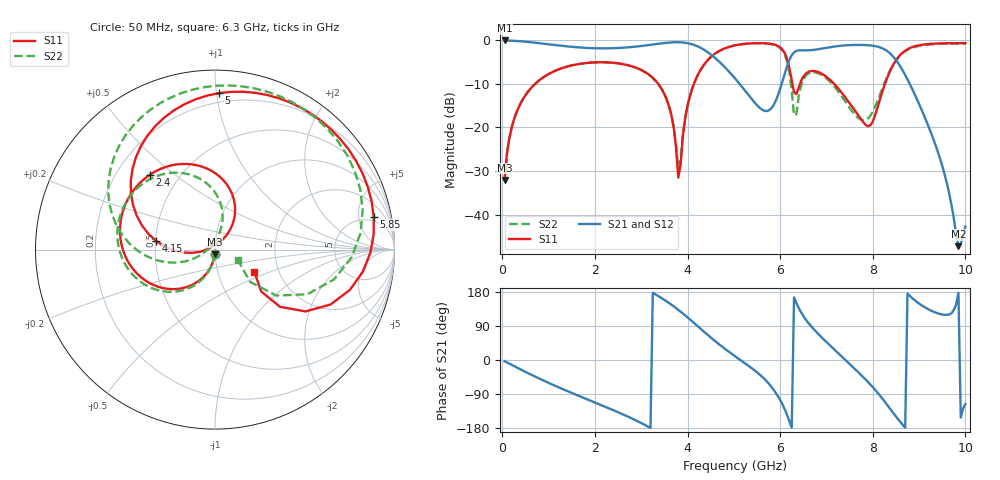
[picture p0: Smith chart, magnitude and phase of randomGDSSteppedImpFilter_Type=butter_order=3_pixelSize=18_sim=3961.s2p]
! freq	dB(S11)	phase(S11)	dB(S12)	phase(S12)
!  dB(S21)	phase(S21)	dB(S22)	phase(S22)
!S-par simulation data
#  GHz  S  DB  R 50
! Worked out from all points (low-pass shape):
!   200 points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, 50 MHz to 10 GHz, reference 50 ohm
!   highest |S21| = -0.01 dB at 50 MHz (marker M1); lowest = -47.3 dB at 9.85 GHz (marker M2)
!   |S21| within 3 dB of the highest: start of sweep to 4.476 GHz; 6.279 GHz to 8.375 GHz (2.095 GHz wide, 28.6 % of centre)
!   lowest |S11| = -32.0 dB at 50 MHz (marker M3), VSWR 1.05, Z = 49.8 - j2.49 ohm
!   |S11| at or under -10 dB: start of sweep to 706.8 MHz; 3.366 GHz to 4.137 GHz (770.8 MHz wide, 20.5 % of centre); 7.166 GHz to 8.263 GHz (1.097 GHz wide, 14.2 % of centre) (the widest 3 of 4)
!   |S22| runs from -32.0 to -0.7 dB; largest |S21 - S12| = 0
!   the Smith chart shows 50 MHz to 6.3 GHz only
!   S11 on the Smith chart (normalised r, x): 50 MHz: 1.00, -0.05; 2.4 GHz: 0.34, +0.41; 4.15 GHz: 0.51, +0.05; 5 GHz: 0.14, +1.02; 5.85 GHz: 3.99, +7.84; 6.3 GHz: 1.50, -0.40
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0.05  -32.04 -93.4  -0.01 -3.2  -0.01 -3.2  -32.04 -93.1
0.5  -12.59 -123.0  -0.29 -31.3  -0.29 -31.3  -12.59 -120.6
1.75  -5.27 165.7  -1.68 -99.6  -1.68 -99.6  -5.26 174.2
2.4  -5.14 131.2  -1.79 -132.5  -1.79 -132.5  -5.14 143.2
3.4  -10.48 69.5  -0.73 166.4  -0.73 166.4  -10.47 87.6
3.65  -17.15 52.7  -0.46 146.1  -0.46 146.1  -17.08 74.2
3.8  -31.52 94.0  -0.42 132.4  -0.42 132.4  -29.40 118.3
4.15  -9.63 171.9  -1.07 96.7  -1.07 96.7  -9.60 -169.7
4.55  -3.40 130.7  -3.62 54.4  -3.62 54.4  -3.39 151.5
5  -1.19 88.5  -8.42 12.1  -8.42 12.1  -1.20 110.4
5.05  -1.08 84.2  -9.04 7.8  -9.04 7.8  -1.09 106.1
5.85  -0.89 11.6  -15.02 -77.1  -15.02 -77.1  -0.98 29.6
6.15  -4.28 -34.3  -5.90 -145.3  -5.90 -145.3  -4.87 -25.9
6.3  -11.95 -29.6  -2.74 165.2  -2.74 165.2  -17.22 -24.0
6.7  -7.01 -14.4  -2.20 84.8  -2.20 84.8  -7.32 1.2
7.5  -14.44 -70.7  -1.07 -10.4  -1.07 -10.4  -15.50 -116.8
7.95  -19.48 -146.1  -1.16 -64.9  -1.16 -64.9  -17.26 -171.9
8.35  -7.60 110.2  -2.77 -124.7  -2.77 -124.7  -7.41 154.9
8.9  -1.37 31.7  -12.24 158.3  -12.24 158.3  -1.53 79.2
9.5  -0.67 -12.8  -28.82 120.1  -28.82 120.1  -0.78 28.8
9.85  -0.63 -30.3  -47.27 177.3  -47.27 177.3  -0.71 7.9
10  -0.63 -36.9  -42.79 -116.2  -42.79 -116.2  -0.70 -0.1
